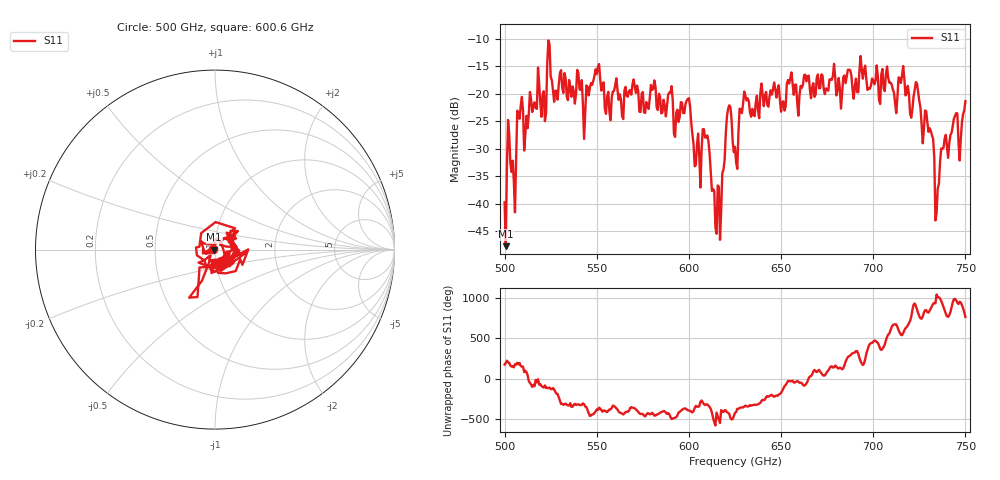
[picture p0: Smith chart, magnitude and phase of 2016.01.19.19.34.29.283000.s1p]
!Created with skrf (http://scikit-rf.org).
# GHz S RI R 50.0
!freq ReS11 ImS11
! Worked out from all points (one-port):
!   401 points, 500 GHz to 750 GHz, reference 50 ohm
!   lowest |S11| = -47.7 dB at 500.6 GHz (marker M1), VSWR 1.01, Z = 49.6 - j0.111 ohm
!   |S11| at or under -10 dB: start of sweep to end of sweep
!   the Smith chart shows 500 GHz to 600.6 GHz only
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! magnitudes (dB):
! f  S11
! 500 GHz  -39.7
! 500.6 GHz  -47.7
! 502.5 GHz  -27.4
! 505 GHz  -35.8
! 508.1 GHz  -24.6
! 521.2 GHz  -19.6
! 524.4 GHz  -11.0
! 527.5 GHz  -19.5
! 531.2 GHz  -18.9
! 550 GHz  -16.4
! 562.5 GHz  -20.1
! 580.6 GHz  -19.1
! 593.8 GHz  -22.9
! 599.4 GHz  -21.0
! 605 GHz  -27.3
! 609.4 GHz  -28.0
! 615.6 GHz  -36.7
! 621.2 GHz  -22.8
! 625 GHz  -29.7
! 630.6 GHz  -20.3
! 656.2 GHz  -18.2
! 687.5 GHz  -15.7
! 718.8 GHz  -18.6
! 729.4 GHz  -25.2
! 735 GHz  -37.2
! 738.1 GHz  -29.8
! 747.5 GHz  -28.3
! 750 GHz  -21.4
